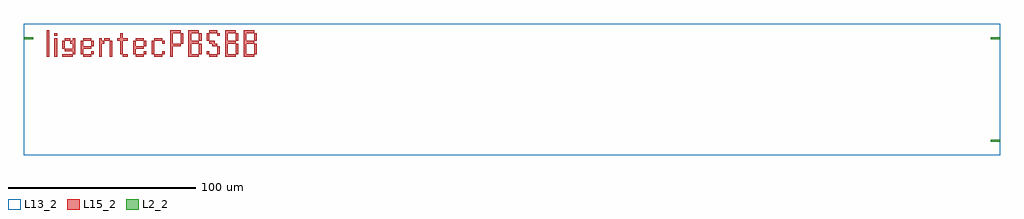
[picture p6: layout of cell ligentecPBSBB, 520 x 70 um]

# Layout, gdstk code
import gdstk
lib = gdstk.Library(unit=1e-6, precision=5e-09)
def R(c, l, rs):  # rectangles x0, y0, x1, y1
    for r in rs: c.add(gdstk.rectangle(r[:2], r[2:], *l))
def A(c, l, x, y, w, h, nx, ny, dx, dy):  # array of equal rectangles
    R(c, l, [(x+i*dx, y+j*dy, x+i*dx+w, y+j*dy+h) for i in range(nx) for j in range(ny)])
L2_2 = (2, 2)
L13_2 = (13, 2)
L15_2 = (15, 2)

ligentecpbsbb = lib.new_cell('ligentecPBSBB')
R(ligentecpbsbb, L2_2, [(510,-55.1,515,-54.1), (-5,-0.5,0,0.5), (510,-0.5,515,0.5)])
R(ligentecpbsbb, L13_2, [(-5,-62.3,515,7.7)])
A(ligentecpbsbb, L15_2, 26.6, -9.8, 4.2, 1.4, 1, 3, 0, 4.2)
A(ligentecpbsbb, L15_2, 54.6, -9.8, 4.2, 1.4, 1, 3, 0, 4.2)
A(ligentecpbsbb, L15_2, 84, -9.8, 4.2, 1.4, 4, 1, 9.8, 0)
A(ligentecpbsbb, L15_2, 74.2, 2.8, 4.2, 1.4, 5, 1, 9.8, 0)
R(ligentecpbsbb, L15_2, [(7,-9.8,8.4,4.2), (11.2,-9.8,12.6,0), (15.4,-9.8,21,-8.4), (35,-9.8,36.4,0), (40.6,-9.8,42,-1.4), (47.6,-9.8,50.4,-8.4), (64.4,-9.8,68.6,-8.4), (72.8,-9.8,74.2,4.2), (82.6,-9.8,84,4.2), (102.2,-9.8,103.6,4.2), (112,-9.8,113.4,4.2), (21,-8.4,22.4,0), (25.2,-8.4,26.6,-1.4), (30.8,-8.4,32.2,-7), (46.2,-8.4,47.6,2.8), (53.2,-8.4,54.6,-1.4), (58.8,-8.4,60.2,-7), (63,-8.4,64.4,-1.4), (68.6,-8.4,70,-7), (88.2,-8.4,89.6,-2.8), (92.4,-8.4,93.8,-7), (98,-8.4,99.4,-4.2), (107.8,-8.4,109.2,-2.8), (117.6,-8.4,119,-2.8), (16.8,-7,21,-5.6), (15.4,-5.6,16.8,-1.4), (30.8,-4.2,32.2,-1.4), (58.8,-4.2,60.2,-1.4), (74.2,-4.2,78.4,-2.8), (95.2,-4.2,96.6,-1.4), (96.6,-4.2,98,-2.8), (19.6,-2.8,21,-1.4), (36.4,-2.8,37.8,-1.4), (68.6,-2.8,70,-1.4), (78.4,-2.8,79.8,2.8), (84,-2.8,88.2,-1.4), (93.8,-2.8,95.2,-1.4), (103.6,-2.8,107.8,-1.4), (113.4,-2.8,117.6,-1.4), (16.8,-1.4,19.6,0), (37.8,-1.4,40.6,0), (44.8,-1.4,46.2,0), (47.6,-1.4,50.4,0), (64.4,-1.4,68.6,0), (88.2,-1.4,89.6,2.8), (92.4,-1.4,93.8,2.8), (107.8,-1.4,109.2,2.8), (117.6,-1.4,119,2.8), (11.2,1.4,12.6,2.8), (98,1.4,99.4,2.8)])

lib.write_gds('ligentecPBSBB.gds')
